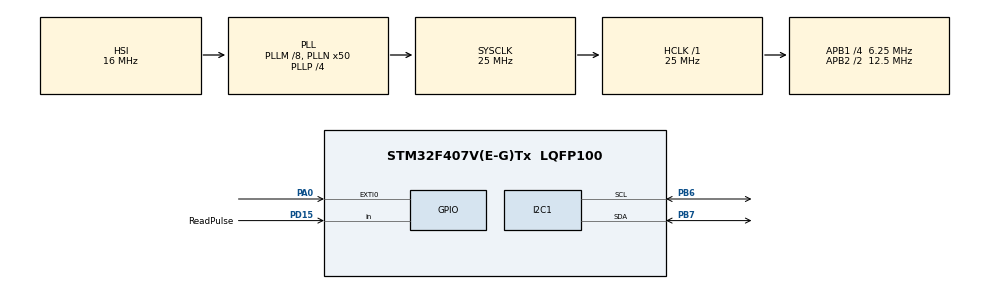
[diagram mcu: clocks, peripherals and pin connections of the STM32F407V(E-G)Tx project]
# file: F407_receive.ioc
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Mcu.Family=STM32F4
Mcu.Name=STM32F407V(E-G)Tx
Mcu.Package=LQFP100
NVIC.EXTI0_IRQn=true\:0\:0\:false\:false\:true\:true\:true\:true
NVIC.PriorityGroup=NVIC_PRIORITYGROUP_4
NVIC.RCC_IRQn=true\:0\:0\:false\:false\:true\:true\:false\:true
PA0-WKUP.GPIO_ModeDefaultEXTI=GPIO_MODE_IT_RISING
PA0-WKUP.Signal=GPXTI0
PA13.Mode=Serial_Wire
PA13.Signal=SYS_JTMS-SWDIO
PA14.Mode=Serial_Wire
PA14.Signal=SYS_JTCK-SWCLK
PB6.Mode=I2C
PB6.Signal=I2C1_SCL
PB7.Mode=I2C
PB7.Signal=I2C1_SDA
PD15.GPIO_Label=ReadPulse
PD15.Signal=GPIO_Input
ProjectManager.HeapSize=0x200
ProjectManager.StackSize=0x400
ProjectManager.TargetToolchain=STM32CubeIDE
RCC.48MHZClocksFreq_Value=14285714.285714285
RCC.AHBFreq_Value=25000000
RCC.APB1CLKDivider=RCC_HCLK_DIV4
RCC.APB1Freq_Value=6250000
RCC.APB1TimFreq_Value=12500000
RCC.APB2CLKDivider=RCC_HCLK_DIV2
RCC.APB2Freq_Value=12500000
RCC.APB2TimFreq_Value=25000000
RCC.CortexFreq_Value=25000000
RCC.HCLKFreq_Value=25000000
RCC.HSE_VALUE=8000000
RCC.HSI_VALUE=16000000
RCC.LSE_VALUE=32768
RCC.PLLM=8
RCC.PLLN=50
RCC.PLLP=RCC_PLLP_DIV4
RCC.PLLQ=7
RCC.SYSCLKFreq_VALUE=25000000
RCC.SYSCLKSource=RCC_SYSCLKSOURCE_PLLCLK
RCC.VCOOutputFreq_Value=100000000
board=STM32F407G-DISC1

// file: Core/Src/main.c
/* USER CODE BEGIN Header */
/**
  ******************************************************************************
  * @file           : main.c
  * @brief          : Main program body
  ******************************************************************************
  * @attention
  *
  * Copyright (c) 2022 STMicroelectronics.
  * All rights reserved.
  *
  * This software is licensed under terms that can be found in the LICENSE file
  * in the root directory of this software component.
  * If no LICENSE file comes with this software, it is provided AS-IS.
  *
  ******************************************************************************
  */
/* USER CODE END Header */
#include "main.h"

I2C_HandleTypeDef hi2c1;

/* USER CODE BEGIN PV */
	queue q;
	int str1[8];
	int n=0;
/* USER CODE END PV */

void SystemClock_Config(void);
static void MX_GPIO_Init(void);
static void MX_I2C1_Init(void);
/* USER CODE BEGIN PFP */
void HAL_GPIO_EXTI_Callback(uint16_t GPIO_Pin){
	int x;
	x=HAL_GPIO_ReadPin(GPIOA, ReadPulse_Pin);
	enqueue(&q, (int)HAL_GPIO_ReadPin(GPIOA, ReadPulse_Pin));
}
/* USER CODE END PFP */

int main(void)
{
  /* USER CODE BEGIN 1 */
	create(&q, 8);
	int m, j;
  /* USER CODE END 1 */

  /* MCU Configuration--------------------------------------------------------*/

  /* Reset of all peripherals, Initializes the Flash interface and the Systick. */
  HAL_Init();

  /* Configure the system clock */
  SystemClock_Config();

  /* Initialize all configured peripherals */
  MX_GPIO_Init();
  MX_I2C1_Init();
  /* USER CODE BEGIN 2 */
  lcd_init();
  for(j=0;j<sizeof(str1)/sizeof(int);j++){
  //for(j=0;j<129;j++){
  	  str1[j]=q.p[j];
  	printf("%d", str1[j]);
  }

  n = sizeof(str1) / sizeof(int);

  char *arrChar;
  arrChar = (char *)malloc(sizeof(char) * (n + 1));
  for (m = 0; m < n; ++m){
    arrChar[m] = str1[m] + '0';
  }
  arrChar[n] = '\0';
    //Binary_To_ASCII(arrChar);
  lcd_goto_XY(1, 0);
  lcd_send_string(Binary_To_ASCII(arrChar));
  /* USER CODE END 2 */

  /* Infinite loop */
  while (1)
  {

  }
}

void SystemClock_Config(void)
{
  RCC_OscInitTypeDef RCC_OscInitStruct = {0};
  RCC_ClkInitTypeDef RCC_ClkInitStruct = {0};

  /** Configure the main internal regulator output voltage
  */
  __HAL_RCC_PWR_CLK_ENABLE();
  __HAL_PWR_VOLTAGESCALING_CONFIG(PWR_REGULATOR_VOLTAGE_SCALE1);

  /** Initializes the RCC Oscillators according to the specified parameters
  * in the RCC_OscInitTypeDef structure.
  */
  RCC_OscInitStruct.OscillatorType = RCC_OSCILLATORTYPE_HSI;
  RCC_OscInitStruct.HSIState = RCC_HSI_ON;
  RCC_OscInitStruct.HSICalibrationValue = RCC_HSICALIBRATION_DEFAULT;
  RCC_OscInitStruct.PLL.PLLState = RCC_PLL_ON;
  RCC_OscInitStruct.PLL.PLLSource = RCC_PLLSOURCE_HSI;
  RCC_OscInitStruct.PLL.PLLM = 8;
  RCC_OscInitStruct.PLL.PLLN = 50;
  RCC_OscInitStruct.PLL.PLLP = RCC_PLLP_DIV4;
  RCC_OscInitStruct.PLL.PLLQ = 7;
  if (HAL_RCC_OscConfig(&RCC_OscInitStruct) != HAL_OK)
  {
    Error_Handler();
  }

  /** Initializes the CPU, AHB and APB buses clocks
  */
  RCC_ClkInitStruct.ClockType = RCC_CLOCKTYPE_HCLK|RCC_CLOCKTYPE_SYSCLK
                              |RCC_CLOCKTYPE_PCLK1|RCC_CLOCKTYPE_PCLK2;
  RCC_ClkInitStruct.SYSCLKSource = RCC_SYSCLKSOURCE_PLLCLK;
  RCC_ClkInitStruct.AHBCLKDivider = RCC_SYSCLK_DIV1;
  RCC_ClkInitStruct.APB1CLKDivider = RCC_HCLK_DIV4;
  RCC_ClkInitStruct.APB2CLKDivider = RCC_HCLK_DIV2;

  if (HAL_RCC_ClockConfig(&RCC_ClkInitStruct, FLASH_LATENCY_0) != HAL_OK)
  {
    Error_Handler();
  }
}

static void MX_I2C1_Init(void)
{

  hi2c1.Instance = I2C1;
  hi2c1.Init.ClockSpeed = 100000;
  hi2c1.Init.DutyCycle = I2C_DUTYCYCLE_2;
  hi2c1.Init.OwnAddress1 = 0;
  hi2c1.Init.AddressingMode = I2C_ADDRESSINGMODE_7BIT;
  hi2c1.Init.DualAddressMode = I2C_DUALADDRESS_DISABLE;
  hi2c1.Init.OwnAddress2 = 0;
  hi2c1.Init.GeneralCallMode = I2C_GENERALCALL_DISABLE;
  hi2c1.Init.NoStretchMode = I2C_NOSTRETCH_DISABLE;
  if (HAL_I2C_Init(&hi2c1) != HAL_OK)
  {
    Error_Handler();
  }

}

static void MX_GPIO_Init(void)
{
  GPIO_InitTypeDef GPIO_InitStruct = {0};

  /* GPIO Ports Clock Enable */
  __HAL_RCC_GPIOA_CLK_ENABLE();
  __HAL_RCC_GPIOD_CLK_ENABLE();
  __HAL_RCC_GPIOB_CLK_ENABLE();

  /*Configure GPIO pin : PA0 */
  GPIO_InitStruct.Pin = GPIO_PIN_0;
  GPIO_InitStruct.Mode = GPIO_MODE_IT_RISING;
  GPIO_InitStruct.Pull = GPIO_NOPULL;
  HAL_GPIO_Init(GPIOA, &GPIO_InitStruct);

  /*Configure GPIO pin : ReadPulse_Pin */
  GPIO_InitStruct.Pin = ReadPulse_Pin;
  GPIO_InitStruct.Mode = GPIO_MODE_INPUT;
  GPIO_InitStruct.Pull = GPIO_NOPULL;
  HAL_GPIO_Init(ReadPulse_GPIO_Port, &GPIO_InitStruct);

  /* EXTI interrupt init*/
  HAL_NVIC_SetPriority(EXTI0_IRQn, 0, 0);
  HAL_NVIC_EnableIRQ(EXTI0_IRQn);

}

void Error_Handler(void)
{
  __disable_irq();
  while (1)
  {
  }
}
